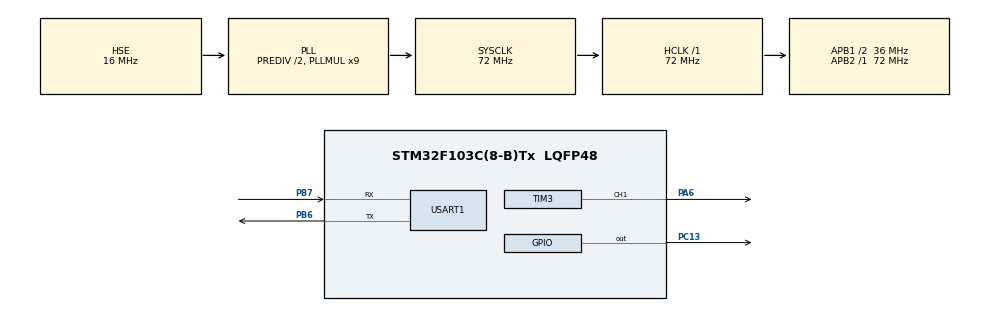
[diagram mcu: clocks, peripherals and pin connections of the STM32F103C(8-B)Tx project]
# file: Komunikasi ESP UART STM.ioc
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Dma.Request0=USART1_RX
Dma.Request1=USART1_TX
Dma.USART1_RX.0.Direction=DMA_PERIPH_TO_MEMORY
Dma.USART1_RX.0.Instance=DMA1_Channel5
Dma.USART1_RX.0.MemDataAlignment=DMA_MDATAALIGN_BYTE
Dma.USART1_RX.0.MemInc=DMA_MINC_ENABLE
Dma.USART1_RX.0.Mode=DMA_NORMAL
Dma.USART1_RX.0.PeriphDataAlignment=DMA_PDATAALIGN_BYTE
Dma.USART1_RX.0.PeriphInc=DMA_PINC_DISABLE
Dma.USART1_RX.0.Priority=DMA_PRIORITY_LOW
Dma.USART1_TX.1.Direction=DMA_MEMORY_TO_PERIPH
Dma.USART1_TX.1.Instance=DMA1_Channel4
Dma.USART1_TX.1.MemDataAlignment=DMA_MDATAALIGN_BYTE
Dma.USART1_TX.1.MemInc=DMA_MINC_ENABLE
Dma.USART1_TX.1.Mode=DMA_NORMAL
Dma.USART1_TX.1.PeriphDataAlignment=DMA_PDATAALIGN_BYTE
Dma.USART1_TX.1.PeriphInc=DMA_PINC_DISABLE
Dma.USART1_TX.1.Priority=DMA_PRIORITY_LOW
Mcu.Family=STM32F1
Mcu.Name=STM32F103C(8-B)Tx
Mcu.Package=LQFP48
NVIC.DMA1_Channel4_IRQn=true\:0\:0\:false\:false\:true\:false\:true\:true
NVIC.DMA1_Channel5_IRQn=true\:0\:0\:false\:false\:true\:false\:true\:true
NVIC.PriorityGroup=NVIC_PRIORITYGROUP_4
PA13.Mode=Serial_Wire
PA13.Signal=SYS_JTMS-SWDIO
PA14.Mode=Serial_Wire
PA14.Signal=SYS_JTCK-SWCLK
PA6.Signal=S_TIM3_CH1
PB6.Mode=Asynchronous
PB6.Signal=USART1_TX
PB7.Mode=Asynchronous
PB7.Signal=USART1_RX
PC13-TAMPER-RTC.Signal=GPIO_Output
PD0-OSC_IN.Mode=HSE-External-Oscillator
PD0-OSC_IN.Signal=RCC_OSC_IN
PD1-OSC_OUT.Mode=HSE-External-Oscillator
PD1-OSC_OUT.Signal=RCC_OSC_OUT
ProjectManager.HeapSize=0x200
ProjectManager.StackSize=0x400
ProjectManager.TargetToolchain=STM32CubeIDE
RCC.AHBFreq_Value=72000000
RCC.APB1CLKDivider=RCC_HCLK_DIV2
RCC.APB1Freq_Value=36000000
RCC.APB1TimFreq_Value=72000000
RCC.APB2Freq_Value=72000000
RCC.APB2TimFreq_Value=72000000
RCC.HCLKFreq_Value=72000000
RCC.HSEDivPLL=RCC_HSE_PREDIV_DIV2
RCC.HSE_VALUE=16000000
RCC.PLLMUL=RCC_PLL_MUL9
RCC.PLLSourceVirtual=RCC_PLLSOURCE_HSE
RCC.SYSCLKFreq_VALUE=72000000
RCC.SYSCLKSource=RCC_SYSCLKSOURCE_PLLCLK
RCC.USBFreq_Value=72000000
SH.S_TIM3_CH1.0=TIM3_CH1,PWM Generation1 CH1
TIM3.Channel-PWM\ Generation1\ CH1=TIM_CHANNEL_1
TIM3.Period=1000 - 1
TIM3.Prescaler=1440-1
TIM4.Period=1000-1
TIM4.Prescaler=72-1
USART1.VirtualMode=VM_ASYNC
VP_TIM4_VS_ClockSourceINT.Mode=Internal
board=custom

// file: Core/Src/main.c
/* USER CODE BEGIN Header */
/**
  ******************************************************************************
  * @file           : main.c
  * @brief          : Main program body
  ******************************************************************************
  * @attention
  *
  * Copyright (c) 2026 STMicroelectronics.
  * All rights reserved.
  *
  * This software is licensed under terms that can be found in the LICENSE file
  * in the root directory of this software component.
  * If no LICENSE file comes with this software, it is provided AS-IS.
  *
  ******************************************************************************
  */
/* USER CODE END Header */
#include "main.h"

/* USER CODE BEGIN Includes */
#include "string.h"
/* USER CODE END Includes */

TIM_HandleTypeDef htim3;
TIM_HandleTypeDef htim4;

UART_HandleTypeDef huart1;
DMA_HandleTypeDef hdma_usart1_rx;
DMA_HandleTypeDef hdma_usart1_tx;

void SystemClock_Config(void);
static void MX_GPIO_Init(void);
static void MX_DMA_Init(void);
static void MX_USART1_UART_Init(void);
static void MX_TIM4_Init(void);
static void MX_TIM3_Init(void);

/* USER CODE BEGIN 0 */
char receive [5];

int8_t rys;

void HAL_UART_ErrorCallback(UART_HandleTypeDef *huart)
{
	if(huart == &huart1) //--- VGT BASE
	{
		HAL_UART_AbortReceive(&huart1);
		HAL_UART_Receive_DMA(&huart1, (uint8_t*)receive, sizeof(receive));
	}
}

void HAL_UART_RxHalfCpltCallback(UART_HandleTypeDef *huart)
{
	if(huart == &huart1) //--- VGT BASE
	{
		if(!(receive[0] == 'A' && receive[1] == 'B' && receive[2] == 'C'))
		{
			HAL_UART_AbortReceive(&huart1);
			HAL_UART_Receive_DMA(&huart1, (uint8_t*)receive, sizeof(receive));
		}
	}

}

void HAL_UART_RxCpltCallback(UART_HandleTypeDef *huart)
{
	if(huart == &huart1) //--- VGT BASE
	{
		if(receive[0] == 'A' && receive[1] == 'B' && receive[2] == 'C')
		{
			memcpy(&rys, receive + 3, 1);

		}
			HAL_UART_Receive_DMA(&huart1, (uint8_t*)receive, sizeof(receive));

	}
}

long map(long x, long in_min, long in_max, long out_min, long out_max) {
  return (x - in_min) * (out_max - out_min) / (in_max - in_min) + out_min;
}

/* USER CODE END 0 */

int main(void)
{

  /* MCU Configuration--------------------------------------------------------*/

  /* Reset of all peripherals, Initializes the Flash interface and the Systick. */
  HAL_Init();

  /* Configure the system clock */
  SystemClock_Config();

  /* Initialize all configured peripherals */
  MX_GPIO_Init();
  MX_DMA_Init();
  MX_USART1_UART_Init();
  MX_TIM4_Init();
  MX_TIM3_Init();
  /* USER CODE BEGIN 2 */
	HAL_UART_Receive_DMA(&huart1, (uint8_t*)receive, sizeof(receive));
	HAL_TIM_PWM_Start(&htim3, TIM_CHANNEL_1);

  /* USER CODE END 2 */

  /* Infinite loop */
  /* USER CODE BEGIN WHILE */
  while (1)
  {
	  TIM3 -> CCR1 = map(rys, 0, 127, 25, 125) ;

    /* USER CODE END WHILE */

  }
}

void SystemClock_Config(void)
{
  RCC_OscInitTypeDef RCC_OscInitStruct = {0};
  RCC_ClkInitTypeDef RCC_ClkInitStruct = {0};

  /** Initializes the RCC Oscillators according to the specified parameters
  * in the RCC_OscInitTypeDef structure.
  */
  RCC_OscInitStruct.OscillatorType = RCC_OSCILLATORTYPE_HSE;
  RCC_OscInitStruct.HSEState = RCC_HSE_ON;
  RCC_OscInitStruct.HSEPredivValue = RCC_HSE_PREDIV_DIV2;
  RCC_OscInitStruct.HSIState = RCC_HSI_ON;
  RCC_OscInitStruct.PLL.PLLState = RCC_PLL_ON;
  RCC_OscInitStruct.PLL.PLLSource = RCC_PLLSOURCE_HSE;
  RCC_OscInitStruct.PLL.PLLMUL = RCC_PLL_MUL9;
  if (HAL_RCC_OscConfig(&RCC_OscInitStruct) != HAL_OK)
  {
    Error_Handler();
  }

  /** Initializes the CPU, AHB and APB buses clocks
  */
  RCC_ClkInitStruct.ClockType = RCC_CLOCKTYPE_HCLK|RCC_CLOCKTYPE_SYSCLK
                              |RCC_CLOCKTYPE_PCLK1|RCC_CLOCKTYPE_PCLK2;
  RCC_ClkInitStruct.SYSCLKSource = RCC_SYSCLKSOURCE_PLLCLK;
  RCC_ClkInitStruct.AHBCLKDivider = RCC_SYSCLK_DIV1;
  RCC_ClkInitStruct.APB1CLKDivider = RCC_HCLK_DIV2;
  RCC_ClkInitStruct.APB2CLKDivider = RCC_HCLK_DIV1;

  if (HAL_RCC_ClockConfig(&RCC_ClkInitStruct, FLASH_LATENCY_2) != HAL_OK)
  {
    Error_Handler();
  }
}

static void MX_TIM3_Init(void)
{

  TIM_MasterConfigTypeDef sMasterConfig = {0};
  TIM_OC_InitTypeDef sConfigOC = {0};

  htim3.Instance = TIM3;
  htim3.Init.Prescaler = 1440-1;
  htim3.Init.CounterMode = TIM_COUNTERMODE_UP;
  htim3.Init.Period = 1000 - 1;
  htim3.Init.ClockDivision = TIM_CLOCKDIVISION_DIV1;
  htim3.Init.AutoReloadPreload = TIM_AUTORELOAD_PRELOAD_DISABLE;
  if (HAL_TIM_PWM_Init(&htim3) != HAL_OK)
  {
    Error_Handler();
  }
  sMasterConfig.MasterOutputTrigger = TIM_TRGO_RESET;
  sMasterConfig.MasterSlaveMode = TIM_MASTERSLAVEMODE_DISABLE;
  if (HAL_TIMEx_MasterConfigSynchronization(&htim3, &sMasterConfig) != HAL_OK)
  {
    Error_Handler();
  }
  sConfigOC.OCMode = TIM_OCMODE_PWM1;
  sConfigOC.Pulse = 0;
  sConfigOC.OCPolarity = TIM_OCPOLARITY_HIGH;
  sConfigOC.OCFastMode = TIM_OCFAST_DISABLE;
  if (HAL_TIM_PWM_ConfigChannel(&htim3, &sConfigOC, TIM_CHANNEL_1) != HAL_OK)
  {
    Error_Handler();
  }
  HAL_TIM_MspPostInit(&htim3);

}

static void MX_TIM4_Init(void)
{

  TIM_ClockConfigTypeDef sClockSourceConfig = {0};
  TIM_MasterConfigTypeDef sMasterConfig = {0};

  htim4.Instance = TIM4;
  htim4.Init.Prescaler = 72-1;
  htim4.Init.CounterMode = TIM_COUNTERMODE_UP;
  htim4.Init.Period = 1000-1;
  htim4.Init.ClockDivision = TIM_CLOCKDIVISION_DIV1;
  htim4.Init.AutoReloadPreload = TIM_AUTORELOAD_PRELOAD_DISABLE;
  if (HAL_TIM_Base_Init(&htim4) != HAL_OK)
  {
    Error_Handler();
  }
  sClockSourceConfig.ClockSource = TIM_CLOCKSOURCE_INTERNAL;
  if (HAL_TIM_ConfigClockSource(&htim4, &sClockSourceConfig) != HAL_OK)
  {
    Error_Handler();
  }
  sMasterConfig.MasterOutputTrigger = TIM_TRGO_RESET;
  sMasterConfig.MasterSlaveMode = TIM_MASTERSLAVEMODE_DISABLE;
  if (HAL_TIMEx_MasterConfigSynchronization(&htim4, &sMasterConfig) != HAL_OK)
  {
    Error_Handler();
  }

}

static void MX_USART1_UART_Init(void)
{

  huart1.Instance = USART1;
  huart1.Init.BaudRate = 115200;
  huart1.Init.WordLength = UART_WORDLENGTH_8B;
  huart1.Init.StopBits = UART_STOPBITS_1;
  huart1.Init.Parity = UART_PARITY_NONE;
  huart1.Init.Mode = UART_MODE_TX_RX;
  huart1.Init.HwFlowCtl = UART_HWCONTROL_NONE;
  huart1.Init.OverSampling = UART_OVERSAMPLING_16;
  if (HAL_UART_Init(&huart1) != HAL_OK)
  {
    Error_Handler();
  }

}

static void MX_DMA_Init(void)
{

  /* DMA controller clock enable */
  __HAL_RCC_DMA1_CLK_ENABLE();

  /* DMA interrupt init */
  /* DMA1_Channel4_IRQn interrupt configuration */
  HAL_NVIC_SetPriority(DMA1_Channel4_IRQn, 0, 0);
  HAL_NVIC_EnableIRQ(DMA1_Channel4_IRQn);
  /* DMA1_Channel5_IRQn interrupt configuration */
  HAL_NVIC_SetPriority(DMA1_Channel5_IRQn, 0, 0);
  HAL_NVIC_EnableIRQ(DMA1_Channel5_IRQn);

}

static void MX_GPIO_Init(void)
{
  GPIO_InitTypeDef GPIO_InitStruct = {0};

  /* GPIO Ports Clock Enable */
  __HAL_RCC_GPIOC_CLK_ENABLE();
  __HAL_RCC_GPIOD_CLK_ENABLE();
  __HAL_RCC_GPIOA_CLK_ENABLE();
  __HAL_RCC_GPIOB_CLK_ENABLE();

  /*Configure GPIO pin Output Level */
  HAL_GPIO_WritePin(GPIOC, GPIO_PIN_13, GPIO_PIN_RESET);

  /*Configure GPIO pin : PC13 */
  GPIO_InitStruct.Pin = GPIO_PIN_13;
  GPIO_InitStruct.Mode = GPIO_MODE_OUTPUT_PP;
  GPIO_InitStruct.Pull = GPIO_NOPULL;
  GPIO_InitStruct.Speed = GPIO_SPEED_FREQ_LOW;
  HAL_GPIO_Init(GPIOC, &GPIO_InitStruct);

}

void Error_Handler(void)
{
  __disable_irq();
  while (1)
  {
  }
}
